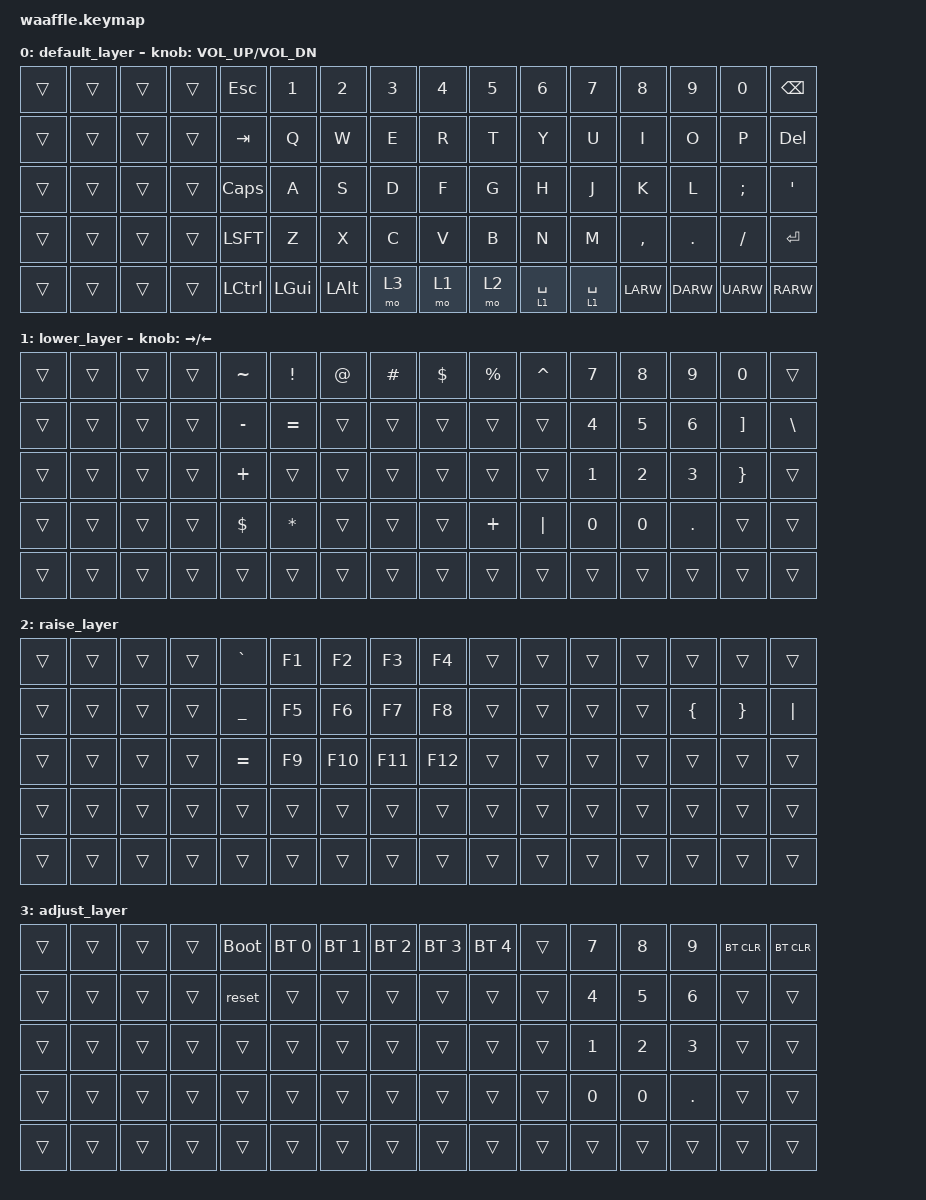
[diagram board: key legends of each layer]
/*
 * Copyright (c) 2020 dELLIKEEb
 *
 * SPDX-License-Identifier: MIT
 */

#include <behaviors.dtsi>
#include <dt-bindings/zmk/keys.h>
#include <dt-bindings/zmk/bt.h>
#include <dt-bindings/zmk/rgb.h>

// custom keycode defs for easier access
#define DEFAULT 0
#define LOWER   1
#define RAISE   2
#define ADJUST  3
#define BT0  BT_SEL 0
#define BT1  BT_SEL 1
#define BT2  BT_SEL 2
#define BT3  BT_SEL 3
#define BT4  BT_SEL 4
// / {
//     behaviors {
//         hm: homerow_mods {
//             compatible = "zmk,behavior-hold-tap";
//             label = "homerow mods";
//             #binding-cells = <2>;
//             tapping_term_ms = <225>;
//             flavor = "tap-preferred";
//             bindings = <&kp>, <&kp>;
//         };
//     };
// };

/ {
    keymap {
        compatible = "zmk,keymap";

        default_layer {
            bindings = <
                &trans      &trans      &trans      &trans   &kp ESC    &kp N1      &kp N2      &kp N3     &kp N4    &kp N5      &kp N6      &kp N7      &kp N8      &kp N9      &kp N0      &kp BKSP
                &trans      &trans      &trans      &trans   &kp TAB    &kp Q       &kp W       &kp E      &kp R     &kp T       &kp Y       &kp U       &kp I       &kp O       &kp P       &kp DEL
                &trans      &trans      &trans      &trans   &kp CAPS   &kp A       &kp S       &kp D      &kp F     &kp G       &kp H       &kp J       &kp K       &kp L       &kp SCLN    &kp APOS
                &trans      &trans      &trans      &trans   &kp LSFT   &kp Z       &kp X       &kp C      &kp V     &kp B       &kp N       &kp M       &kp CMMA    &kp DOT     &kp FSLH    &kp RET
                &trans      &trans      &trans      &trans   &kp LCTL   &kp LGUI    &kp LALT    &mo 3      &mo 1     &mo 2       &lt 1 SPC   &lt 1 SPC   &kp LARW    &kp DARW    &kp UARW    &kp RARW    
            >;
            sensor-bindings = <&inc_dec_kp C_VOL_UP C_VOL_DN>;
        }; 

        lower_layer {
            bindings = <
                &trans      &trans      &trans      &trans      &kp TILDE   &kp EXCL    &kp AT      &kp POUND   &kp DLLR    &kp PRCNT   &kp CARET   &kp NUM_7   &kp NUM_8   &kp NUM_9   &kp NUM_0   &trans 
                &trans      &trans      &trans      &trans      &kp MINUS   &kp EQUAL   &trans      &trans      &trans      &trans      &trans      &kp NUM_4   &kp NUM_5   &kp NUM_6   &kp RBKT    &kp BSLH
                &trans      &trans      &trans      &trans      &kp PLUS    &trans      &trans      &trans      &trans      &trans      &trans      &kp NUM_1   &kp NUM_2   &kp NUM_3   &kp RBRC    &trans
                &trans      &trans      &trans      &trans      &kp DOLLAR  &kp STAR    &trans      &trans      &trans      &kp PLUS    &kp PIPE    &kp NUM_0   &kp NUM_0   &kp DOT     &trans      &trans
                &trans      &trans      &trans      &trans      &trans      &trans      &trans      &trans      &trans      &trans      &trans      &trans      &trans      &trans      &trans      &trans
            >;
            sensor-bindings = <&inc_dec_kp RIGHT LEFT>;
        };

        raise_layer {
            bindings = <
                &trans      &trans      &trans      &trans      &kp GRAVE   &kp F1      &kp F2      &kp F3      &kp F4      &trans      &trans      &trans      &trans      &trans      &trans      &trans  
                &trans      &trans      &trans      &trans      &kp UNDER   &kp F5      &kp F6      &kp F7      &kp F8      &trans      &trans      &trans      &trans      &kp LBRC    &kp RBRC    &kp PIPE
                &trans      &trans      &trans      &trans      &kp EQUAL   &kp F9      &kp F10     &kp F11     &kp F12     &trans      &trans      &trans      &trans      &trans      &trans      &trans 
                &trans      &trans      &trans      &trans      &trans      &trans      &trans      &trans      &trans      &trans      &trans      &trans      &trans      &trans      &trans      &trans  
                &trans      &trans      &trans      &trans      &trans      &trans      &trans      &trans      &trans      &trans      &trans      &trans      &trans      &trans      &trans      &trans
            >;
        };
        
        adjust_layer {
            bindings = <
                &trans      &trans      &trans      &trans      &bootloader &bt BT_SEL 0     &bt BT_SEL 1    &bt BT_SEL 2     &bt BT_SEL 3      &bt BT_SEL 4    &trans      &kp NUM_7   &kp NUM_8   &kp NUM_9      &bt BT_CLR  &bt BT_CLR
                &trans      &trans      &trans      &trans      &reset      &trans           &trans          &trans           &trans            &trans          &trans      &kp NUM_4   &kp NUM_5   &kp NUM_6      &trans      &trans
                &trans      &trans      &trans      &trans      &trans      &trans           &trans          &trans           &trans            &trans          &trans      &kp NUM_1   &kp NUM_2   &kp NUM_3      &trans      &trans
                &trans      &trans      &trans      &trans      &trans      &trans           &trans          &trans           &trans            &trans          &trans      &kp NUM_0   &kp NUM_0   &kp DOT        &trans      &trans
                &trans      &trans      &trans      &trans      &trans      &trans           &trans          &trans           &trans            &trans          &trans      &trans      &trans      &trans         &trans      &trans
            >;
        };

    };
};
